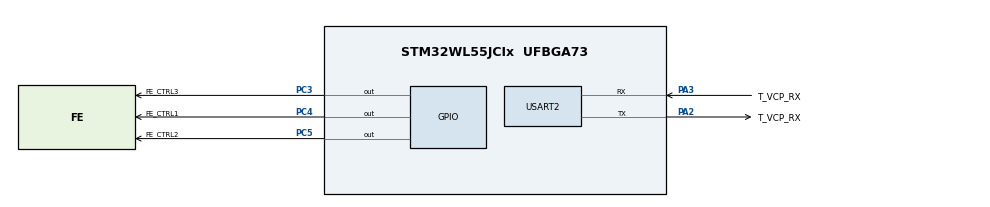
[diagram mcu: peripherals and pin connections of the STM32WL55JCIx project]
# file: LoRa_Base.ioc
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Dma.Request0=USART2_RX
Dma.Request1=USART2_TX
Dma.USART2_RX.0.Channel_PRIV_NPRIV=DMA_CHANNEL_NPRIV_DISABLE
Dma.USART2_RX.0.Direction=DMA_PERIPH_TO_MEMORY
Dma.USART2_RX.0.EventEnable=DISABLE
Dma.USART2_RX.0.Instance=DMA1_Channel1
Dma.USART2_RX.0.MemDataAlignment=DMA_MDATAALIGN_BYTE
Dma.USART2_RX.0.MemInc=DMA_MINC_ENABLE
Dma.USART2_RX.0.Mode=DMA_CIRCULAR
Dma.USART2_RX.0.PeriphDataAlignment=DMA_PDATAALIGN_BYTE
Dma.USART2_RX.0.PeriphInc=DMA_PINC_DISABLE
Dma.USART2_RX.0.Polarity=HAL_DMAMUX_REQ_GEN_RISING
Dma.USART2_RX.0.Priority=DMA_PRIORITY_LOW
Dma.USART2_RX.0.RequestNumber=1
Dma.USART2_RX.0.SignalID=NONE
Dma.USART2_RX.0.SyncEnable=DISABLE
Dma.USART2_RX.0.SyncPolarity=HAL_DMAMUX_SYNC_NO_EVENT
Dma.USART2_RX.0.SyncRequestNumber=1
Dma.USART2_RX.0.SyncSignalID=NONE
Dma.USART2_TX.1.Channel_PRIV_NPRIV=DMA_CHANNEL_NPRIV_DISABLE
Dma.USART2_TX.1.Direction=DMA_MEMORY_TO_PERIPH
Dma.USART2_TX.1.EventEnable=DISABLE
Dma.USART2_TX.1.Instance=DMA1_Channel2
Dma.USART2_TX.1.MemDataAlignment=DMA_MDATAALIGN_BYTE
Dma.USART2_TX.1.MemInc=DMA_MINC_ENABLE
Dma.USART2_TX.1.Mode=DMA_CIRCULAR
Dma.USART2_TX.1.PeriphDataAlignment=DMA_PDATAALIGN_BYTE
Dma.USART2_TX.1.PeriphInc=DMA_PINC_DISABLE
Dma.USART2_TX.1.Polarity=HAL_DMAMUX_REQ_GEN_RISING
Dma.USART2_TX.1.Priority=DMA_PRIORITY_LOW
Dma.USART2_TX.1.RequestNumber=1
Dma.USART2_TX.1.SignalID=NONE
Dma.USART2_TX.1.SyncEnable=DISABLE
Dma.USART2_TX.1.SyncPolarity=HAL_DMAMUX_SYNC_NO_EVENT
Dma.USART2_TX.1.SyncRequestNumber=1
Dma.USART2_TX.1.SyncSignalID=NONE
Mcu.Family=STM32WL
Mcu.Name=STM32WL55JCIx
Mcu.Package=UFBGA73
NVIC.DMA1_Channel1_IRQn=true\:0\:0\:false\:false\:true\:false\:true\:true
NVIC.DMA1_Channel2_IRQn=true\:0\:0\:false\:false\:true\:false\:true\:true
NVIC.PriorityGroup=NVIC_PRIORITYGROUP_4
NVIC.SUBGHZ_Radio_IRQn=true\:0\:0\:false\:false\:true\:true\:true\:true
NVIC.USART2_IRQn=true\:0\:0\:false\:false\:true\:true\:true\:true
PA2.GPIO_Label=T_VCP_RX
PA2.Mode=Asynchronous
PA2.Signal=USART2_TX
PA3.GPIO_Label=T_VCP_RX
PA3.Mode=Asynchronous
PA3.Signal=USART2_RX
PC14-OSC32_IN.GPIO_Label=RCC_OSC32_IN
PC14-OSC32_IN.Signal=RCC_OSC32_IN
PC15-OSC32_OUT.GPIO_Label=RCC_OSC32_OUT
PC15-OSC32_OUT.Signal=RCC_OSC32_OUT
PC3.GPIO_Label=FE_CTRL3
PC3.GPIO_Speed=GPIO_SPEED_FREQ_VERY_HIGH
PC3.Signal=GPIO_Output
PC4.GPIO_Label=FE_CTRL1
PC4.GPIO_Speed=GPIO_SPEED_FREQ_VERY_HIGH
PC4.Signal=GPIO_Output
PC5.GPIO_Label=FE_CTRL2
PC5.GPIO_Speed=GPIO_SPEED_FREQ_VERY_HIGH
PC5.Signal=GPIO_Output
ProjectManager.HeapSize=0x200
ProjectManager.StackSize=0x400
ProjectManager.TargetToolchain=STM32CubeIDE
RCC.HSE_VALUE=32000000
RCC.HSI_VALUE=16000000
RCC.LSE_VALUE=32768
RCC.VCOOutputFreq_Value=32000000
USART2.VirtualMode-Asynchronous=VM_ASYNC
VP_SUBGHZ_VS_SUBGHZ.Mode=SUBGHZ_Activate
board=NUCLEO-WL55JC1

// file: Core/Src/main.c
/* USER CODE BEGIN Header */
/**
  ******************************************************************************
  * @file           : main.c
  * @brief          : Firmware da Placa 2 - LoRa_Base (MASTER NODE)
  *                   Estação Base com Menu de Comandos
  ******************************************************************************
  */
/* USER CODE END Header */
#include "main.h"
#include "dma.h"
#include "subghz.h"
#include "usart.h"
#include "gpio.h"

/* USER CODE BEGIN Includes */
#include "stm32wlxx_nucleo.h"
#include <string.h>
#include <stdio.h>
#include <stdbool.h>
#include "radio_driver.h"
#include "protocol.h"
/* USER CODE END Includes */

/* USER CODE BEGIN PD */
// --- Definições do Payload de Telemetria ---
typedef struct __attribute__((packed)) {
    uint32_t packet_id;
    int32_t  latitude_raw;
    int32_t  longitude_raw;
    int32_t  altitude_raw;
    uint16_t voltage_mv;
    int8_t   radio_temp_c;
    uint8_t  sats_and_fix;
} LoRaPayload_t;

// --- Definições do Comando ---

#define TELEMETRY_PAYLOAD_SIZE sizeof(LoRaPayload_t)
//#define COMMAND_PAYLOAD_SIZE sizeof(CommandPacket_t)

// --- Parâmetros LoRa (IDÊNTICOS aos da Placa 1) ---
#define RF_FREQUENCY                                915000000 // Hz
#define TX_OUTPUT_POWER                             22        // dBm
#define LORA_BANDWIDTH                              0         // 0: 125 kHz
#define LORA_SPREADING_FACTOR                       10        // SF10
#define LORA_CODINGRATE                             4         // 4: 4/8
#define LORA_PREAMBLE_LENGTH                        8

// --- Timeouts ---
#define RESPONSE_TIMEOUT_MS                         5000      // 5 segundos
/* USER CODE END PD */

/* USER CODE BEGIN PV */
static uint8_t lora_rx_buffer[TELEMETRY_PAYLOAD_SIZE]; // Buffer para receber respostas
uint8_t uart_rx_char; // Caractere recebido via UART
volatile bool aguardando_resposta = false; // Flag de controle de fluxo
volatile bool lora_tx_busy = false; // Flag de controle de transmissão
uint32_t command_sequence = 0; // Contador de sequência dos comandos
uint32_t response_timer = 0; // Timer para timeout de resposta
CommandType_t last_command_sent = CMD_TYPE_REQUEST; // Último comando enviado

const RadioLoRaBandwidths_t Bandwidths[] = { LORA_BW_125, LORA_BW_250, LORA_BW_500 };
/* USER CODE END PV */

void SystemClock_Config(void);
/* USER CODE BEGIN PFP */
void Radio_Init(void);
void ShowMenu(void);
void ProcessUserInput(void);
void SendCommand(CommandType_t type, ParameterID_t param, uint8_t* data, uint8_t len);
void ProcessTelemetryResponse(uint8_t* buffer, uint8_t size);
void ProcessAckResponse(uint8_t* buffer, uint8_t size);
void CheckResponseTimeout(void);
void RadioOnDioIrq(RadioIrqMasks_t radioIrq);
/* USER CODE END PFP */

/* USER CODE BEGIN 0 */
// Redireciona a saída do printf para a USART2 (nossa porta de debug para o PC)
int _write(int file, char *ptr, int len)
{
  HAL_UART_Transmit(&huart2, (uint8_t*)ptr, len, HAL_MAX_DELAY);
  return len;
}
/* USER CODE END 0 */

int main(void)
{

  /* MCU Configuration--------------------------------------------------------*/

  /* Reset of all peripherals, Initializes the Flash interface and the Systick. */
  HAL_Init();

  /* Configure the system clock */
  SystemClock_Config();

  /* Initialize all configured peripherals */
  MX_GPIO_Init();
  MX_DMA_Init();
  MX_SUBGHZ_Init();
  MX_USART2_UART_Init();
  /* USER CODE BEGIN 2 */
  BSP_LED_Init(LED_GREEN);

  printf("\r\n--- LoRa_Base (MASTER NODE) ---\r\n");
  printf("Estacao Base com Menu de Comandos\r\n");

  Radio_Init();
  printf("Radio LoRa inicializado em modo MASTER.\r\n");

  ShowMenu();

  // Inicia recepção não-bloqueante da UART para o menu
  HAL_UART_Receive_IT(&huart2, &uart_rx_char, 1);
  /* USER CODE END 2 */

  /* Infinite loop */
  /* USER CODE BEGIN WHILE */
  while (1)
  {
    // Verifica timeout de resposta
    if (aguardando_resposta) {
      CheckResponseTimeout();
    }

    // O processamento acontece nos callbacks de interrupção
    // O processador pode entrar em modo sleep para economizar energia
    if (!aguardando_resposta && !lora_tx_busy) {
      HAL_PWR_EnterSLEEPMode(PWR_MAINREGULATOR_ON, PWR_SLEEPENTRY_WFI);
    }
  }
    /* USER CODE END WHILE */

  }

void SystemClock_Config(void)
{
  RCC_OscInitTypeDef RCC_OscInitStruct = {0};
  RCC_ClkInitTypeDef RCC_ClkInitStruct = {0};

  /** Configure the main internal regulator output voltage
  */
  __HAL_PWR_VOLTAGESCALING_CONFIG(PWR_REGULATOR_VOLTAGE_SCALE2);

  /** Initializes the CPU, AHB and APB buses clocks
  */
  RCC_OscInitStruct.OscillatorType = RCC_OSCILLATORTYPE_MSI;
  RCC_OscInitStruct.MSIState = RCC_MSI_ON;
  RCC_OscInitStruct.MSICalibrationValue = RCC_MSICALIBRATION_DEFAULT;
  RCC_OscInitStruct.MSIClockRange = RCC_MSIRANGE_6;
  RCC_OscInitStruct.PLL.PLLState = RCC_PLL_NONE;
  if (HAL_RCC_OscConfig(&RCC_OscInitStruct) != HAL_OK)
  {
    Error_Handler();
  }

  /** Configure the SYSCLKSource, HCLK, PCLK1 and PCLK2 clocks dividers
  */
  RCC_ClkInitStruct.ClockType = RCC_CLOCKTYPE_HCLK3|RCC_CLOCKTYPE_HCLK
                              |RCC_CLOCKTYPE_SYSCLK|RCC_CLOCKTYPE_PCLK1
                              |RCC_CLOCKTYPE_PCLK2;
  RCC_ClkInitStruct.SYSCLKSource = RCC_SYSCLKSOURCE_MSI;
  RCC_ClkInitStruct.AHBCLKDivider = RCC_SYSCLK_DIV1;
  RCC_ClkInitStruct.APB1CLKDivider = RCC_HCLK_DIV1;
  RCC_ClkInitStruct.APB2CLKDivider = RCC_HCLK_DIV1;
  RCC_ClkInitStruct.AHBCLK3Divider = RCC_SYSCLK_DIV1;

  if (HAL_RCC_ClockConfig(&RCC_ClkInitStruct, FLASH_LATENCY_0) != HAL_OK)
  {
    Error_Handler();
  }
}

/* USER CODE BEGIN 4 */
// --- Implementação das Funções ---

void ShowMenu(void)
{
    printf("\r\n=== MENU DE COMANDOS ===\r\n");
    printf("1 - Solicitar Telemetria\r\n");
    printf("2 - Realizar uma leitura ou escrita\r\n");
    printf("3 - Solicitar a execução de um comando\r\n");
    printf("Digite o numero do comando: ");
}

void ProcessUserInput(void)
{
    switch (uart_rx_char)
    {
        case '1':
            printf("1\r\n");
            if (!aguardando_resposta && !lora_tx_busy) {
                printf("Solicitando telemetria...\r\n");
                SendCommand(CMD_TYPE_REQUEST, REQUEST_TELEMETRY_PACKET, NULL, 0);
            } else {
                printf("ERRO: Operacao em andamento, aguarde.\r\n");
            }
            break;

        case '2':
            printf("2\r\n");
            if (!aguardando_resposta && !lora_tx_busy) {
                printf("Solicitando execução de comando da radiossonda...\r\n");
                SendCommand(CMD_TYPE_EXECUTE, ACTION_RESET_MCU, NULL, 0);
            } else {
				printf("ERRO: Operacao em andamento, aguarde.\r\n");
			}
            break;

        case '3':
            printf("3\r\n");
            if (!aguardando_resposta && !lora_tx_busy) {
                printf("Solicitando leitura/escrita da radiossonda...\r\n");
                SendCommand(CMD_TYPE_WRITE, 0x00, lora_rx_buffer, 100); //eventualmente deverá ser outra função ou uma função adaptada para receber o parâmetro de escrita ou leitura
            } else {
                printf("ERRO: Operacao em andamento, aguarde.\r\n");
            }
            break;

        default:
            printf("%c\r\n", uart_rx_char);
            printf("Comando invalido! Digite 1, 2 ou 3.\r\n");
            break;
    }

    // Reinicia a recepção da UART
    HAL_UART_Receive_IT(&huart2, &uart_rx_char, 1);
}

void SendCommand(CommandType_t type, ParameterID_t param, uint8_t* data, uint8_t len) {
    // 1. Inicializa a struct inteira com zeros.
    // Isso resolve o aviso de "uninitialized" e já limpa o payload_data.
    CommandPacket_t cmd_packet = {0};

    // 2. Preenche o cabeçalho do pacote com os valores corretos.
    cmd_packet.sequence_number = ++command_sequence; // Supondo que command_sequence é uma var global
    cmd_packet.command_type = type;
    cmd_packet.parameter_id = param;
    cmd_packet.payload_len = len;

    // 3. Copia os dados do payload, se houver.
    // A validação de 'len' garante que não copiaremos lixo de memória.
    if (data!= NULL && len > 0 && len <= MAX_PAYLOAD_DATA_SIZE) {
        memcpy(cmd_packet.payload_data, data, len);
    }

    // A chamada 'memset' anterior foi removida por ser desnecessária e perigosa.

    lora_tx_busy = true;
    last_command_sent = type; // Corrigido para usar o 'type' passado para a função

    // Configura os parâmetros do rádio (seu código aqui está correto)
    PacketParams_t packetParams;
    packetParams.PacketType = PACKET_TYPE_LORA;
    packetParams.Params.LoRa.PreambleLength = LORA_PREAMBLE_LENGTH;
    packetParams.Params.LoRa.HeaderType = LORA_PACKET_FIXED_LENGTH;
    packetParams.Params.LoRa.PayloadLength = MAX_PACKET_SIZE; // Sempre envia o pacote de tamanho máximo
    packetParams.Params.LoRa.CrcMode = LORA_CRC_ON;
    packetParams.Params.LoRa.InvertIQ = LORA_IQ_NORMAL;
    SUBGRF_SetPacketParams(&packetParams);

    printf("Transmitindo comando %d (seq: %lu)...\r\n", type, cmd_packet.sequence_number);

    // Envia a struct inteira. O receptor irá ignorar o padding.
    SUBGRF_SendPayload((uint8_t*)&cmd_packet, MAX_PACKET_SIZE, 0);
}

void ProcessTelemetryResponse(uint8_t* buffer, uint8_t size)
{
    // 1. Validação do tamanho do pacote recebido. Esta parte está perfeita.
    if (size!= TELEMETRY_PAYLOAD_SIZE) {
        printf("ERRO: Telemetria com tamanho de pacote inválido: %d (esperado: %d)\r\n", size, TELEMETRY_PAYLOAD_SIZE);
        return;
    }

    // 2. Cria uma variável local para armazenar a telemetria de forma segura.
    LoRaPayload_t telemetry_data;

    // 3. Copia de forma segura APENAS os bytes que correspondem à telemetria real
    // do início do buffer maior para a nossa variável local.
    // Isso ignora efetivamente o padding no final do buffer.
    memcpy(&telemetry_data, buffer, sizeof(LoRaPayload_t));

    // 4. Todas as operações agora usam a cópia local limpa e segura.
    float latitude = telemetry_data.latitude_raw / 10000000.0f;
    float longitude = telemetry_data.longitude_raw / 10000000.0f;
    float altitude_m = telemetry_data.altitude_raw / 1000.0f;

    bool gpsFixOK = (telemetry_data.sats_and_fix >> 7) & 0x01;
    uint8_t satCount = telemetry_data.sats_and_fix & 0x7F;

    printf("\r\n======\r\n");
    printf("  ID do Pacote:   %lu\r\n", telemetry_data.packet_id);
    printf("  Latitude:       %.7f\r\n", latitude);
    printf("  Longitude:      %.7f\r\n", longitude);
    printf("  Altitude:       %.2f m\r\n", altitude_m);
    printf("  Voltagem:       %u mV\r\n", telemetry_data.voltage_mv);
    printf("  Temp. Radio:    %d C\r\n", telemetry_data.radio_temp_c);
    printf("  Status GPS:     %s (Sats: %u)\r\n", gpsFixOK? "FIX OK" : "NO FIX", satCount);
    printf("==============================\r\n");

    // Retorna ao menu
//    ShowMenu();
}

void CheckResponseTimeout(void)
{
    if (HAL_GetTick() - response_timer > RESPONSE_TIMEOUT_MS) {
        printf("TIMEOUT: Nenhuma resposta recebida em %d ms.\r\n", RESPONSE_TIMEOUT_MS);
        aguardando_resposta = false;

        // Reconfigura para modo de recepção padrão (comandos)
        PacketParams_t packetParams;
        packetParams.PacketType = PACKET_TYPE_LORA;
        packetParams.Params.LoRa.PreambleLength = LORA_PREAMBLE_LENGTH;
        packetParams.Params.LoRa.HeaderType = LORA_PACKET_FIXED_LENGTH;
        packetParams.Params.LoRa.PayloadLength = MAX_PACKET_SIZE;
        packetParams.Params.LoRa.CrcMode = LORA_CRC_ON;
        packetParams.Params.LoRa.InvertIQ = LORA_IQ_NORMAL;
        SUBGRF_SetPacketParams(&packetParams);

        SUBGRF_SetRx(0); // Volta para recepção contínua

        ShowMenu();
    }
}

void Radio_Init(void)
{
    SUBGRF_Init(RadioOnDioIrq);

    SUBGRF_SetStandby(STDBY_RC);
    SUBGRF_SetPacketType(PACKET_TYPE_LORA);
    SUBGRF_SetRfFrequency(RF_FREQUENCY);
    SUBGRF_SetRfTxPower(TX_OUTPUT_POWER);

    ModulationParams_t modulationParams;
    modulationParams.PacketType = PACKET_TYPE_LORA;
    modulationParams.Params.LoRa.SpreadingFactor = LORA_SPREADING_FACTOR;
    modulationParams.Params.LoRa.Bandwidth = Bandwidths[LORA_BANDWIDTH];
    modulationParams.Params.LoRa.CodingRate = LORA_CODINGRATE;
    modulationParams.Params.LoRa.LowDatarateOptimize = 0x00;
    SUBGRF_SetModulationParams(&modulationParams);

    // Configuração inicial para receber ACKs (comandos têm tamanho menor)
    PacketParams_t packetParams;
    packetParams.PacketType = PACKET_TYPE_LORA;
    packetParams.Params.LoRa.PreambleLength = LORA_PREAMBLE_LENGTH;
    packetParams.Params.LoRa.HeaderType = LORA_PACKET_FIXED_LENGTH;
    packetParams.Params.LoRa.PayloadLength = MAX_PACKET_SIZE;
    packetParams.Params.LoRa.CrcMode = LORA_CRC_ON;
    packetParams.Params.LoRa.InvertIQ = LORA_IQ_NORMAL;
    SUBGRF_SetPacketParams(&packetParams);

    // Configura interrupções para TX e RX
    SUBGRF_SetDioIrqParams(IRQ_TX_DONE | IRQ_RX_DONE | IRQ_CRC_ERROR | IRQ_RX_TX_TIMEOUT,
                           IRQ_TX_DONE | IRQ_RX_DONE | IRQ_CRC_ERROR | IRQ_RX_TX_TIMEOUT,
                           IRQ_RADIO_NONE, IRQ_RADIO_NONE);

    // Inicia em modo de recepção contínua (aguardando possíveis respostas)
    SUBGRF_SetRx(0);
}

void RadioOnDioIrq(RadioIrqMasks_t radioIrq)
{
    switch (radioIrq)
    {
        case IRQ_TX_DONE:
            printf("LoRa TX concluida.\r\n");
            lora_tx_busy = false;

            // Após QUALQUER transmissão, a configuração de recepção é SEMPRE a mesma.
            // Não há mais necessidade de alternar configurações.

            // Configura o rádio para receber um pacote de tamanho fixo e máximo.
            PacketParams_t packetParams;
            packetParams.PacketType = PACKET_TYPE_LORA;
            packetParams.Params.LoRa.PreambleLength = LORA_PREAMBLE_LENGTH;
            packetParams.Params.LoRa.HeaderType = LORA_PACKET_FIXED_LENGTH; // Mantemos o tamanho fixo
            packetParams.Params.LoRa.PayloadLength = TELEMETRY_PAYLOAD_SIZE;      // AJUSTE CRÍTICO: Sempre esperamos o tamanho máximo
            packetParams.Params.LoRa.CrcMode = LORA_CRC_ON;
            packetParams.Params.LoRa.InvertIQ = LORA_IQ_NORMAL;
            SUBGRF_SetPacketParams(&packetParams);

            // Se enviamos um comando que espera resposta, iniciamos o timer.
            if (last_command_sent == CMD_TYPE_REQUEST || last_command_sent == CMD_TYPE_READ) {
                printf("Aguardando resposta...\r\n");
                aguardando_resposta = true;
                response_timer = HAL_GetTick();
            }

            // Volta para modo de recepção
            SUBGRF_SetRx(0);
            break;

        case IRQ_RX_DONE:
            {
                uint8_t received_size = 0;
                PacketStatus_t packetStatus;

                BSP_LED_Toggle(LED_GREEN);
                aguardando_resposta = false;

                SUBGRF_GetPayload(lora_rx_buffer, &received_size, TELEMETRY_PAYLOAD_SIZE);
                SUBGRF_GetPacketStatus(&packetStatus);

                printf("Resposta LoRa recebida! RSSI: %d dBm, SNR: %d, Size: %d\r\n",
                       packetStatus.Params.LoRa.RssiPkt, packetStatus.Params.LoRa.SnrPkt, received_size);

                // AJUSTE CRÍTICO: A validação agora é sobre o tamanho máximo esperado.
                if (received_size == TELEMETRY_PAYLOAD_SIZE) {
                    // O pacote tem o tamanho correto. Agora, podemos inspecionar seu conteúdo
                    // para decidir como processá-lo.
                    // Ex: ProcessTelemetryResponse(lora_rx_buffer, received_size);
                    // Ex: ProcessAckResponse(lora_rx_buffer, received_size);
                    // A lógica de qual função chamar virá da análise do conteúdo do buffer,
                    // não mais do seu tamanho.
                	ProcessTelemetryResponse(lora_rx_buffer, received_size);
                    ShowMenu();
                } else {
                    printf("ERRO: Resposta com tamanho inesperado: %d (esperado: %d)\r\n", received_size, TELEMETRY_PAYLOAD_SIZE);
                    ShowMenu();
                }

                // NÃO é mais necessário reconfigurar os parâmetros do pacote aqui.
                // A configuração para recepção já está correta e não muda.
                SUBGRF_SetRx(0); // Apenas volte a ouvir.
            }
            break;

        case IRQ_CRC_ERROR:
            printf("WARN: Erro de CRC na resposta LoRa.\r\n");
            aguardando_resposta = false;
            SUBGRF_SetRx(0);
            ShowMenu();
            break;

        case IRQ_RX_TX_TIMEOUT:
            // Se o timeout ocorreu enquanto esperávamos uma resposta.
            if (aguardando_resposta) {
                printf("ERRO: Timeout! Nenhuma resposta recebida.\r\n");
            } else {
                printf("WARN: LoRa timeout.\r\n");
            }
            lora_tx_busy = false;
            aguardando_resposta = false;
            SUBGRF_SetRx(0);
            ShowMenu();
            break;

        default:
            break;
    }
}

// Callback da UART para processar entrada do usuário
void HAL_UART_RxCpltCallback(UART_HandleTypeDef *huart)
{
    if (huart->Instance == USART2) {
        ProcessUserInput();
    }
}
/* USER CODE END 4 */

void Error_Handler(void)
{
  __disable_irq();
  while (1)
  {
  }
}
